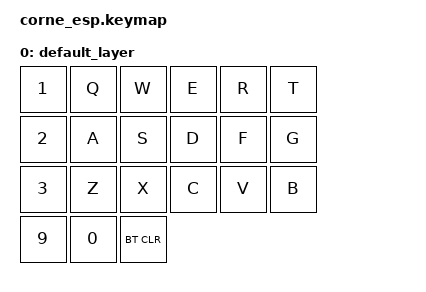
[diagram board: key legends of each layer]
/*
 * Copyright (c) 2020 The ZMK Contributors
 *
 * SPDX-License-Identifier: MIT
 */

#include <behaviors.dtsi>
#include <dt-bindings/zmk/keys.h>
#include <dt-bindings/zmk/bt.h>

/ {
        keymap {
                compatible = "zmk,keymap";

                default_layer {
                        bindings = <
   &kp N1  &kp Q &kp W &kp E &kp R &kp T
   &kp N2  &kp A &kp S &kp D &kp F &kp G
   &kp N3  &kp Z &kp X &kp C &kp V &kp B
   &kp N9 &kp N0 &bt BT_CLR
                        >;
                };

        };
};
